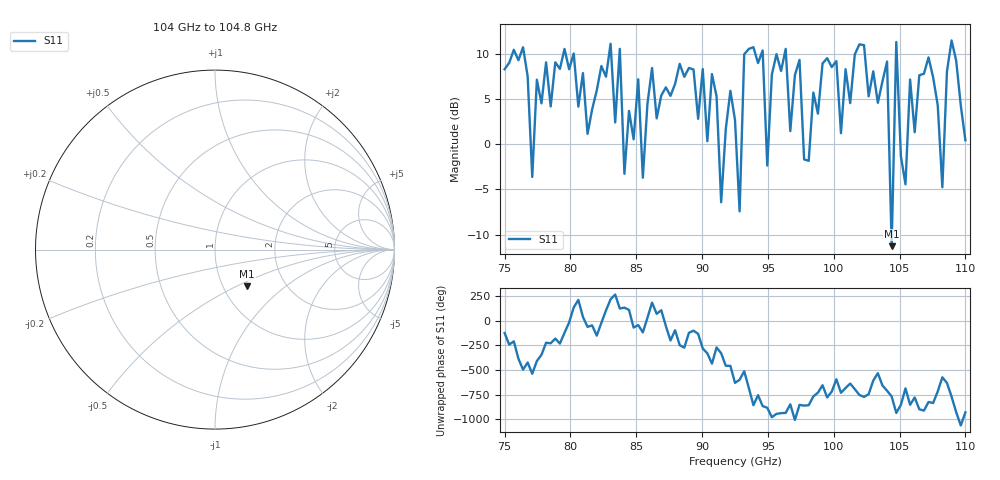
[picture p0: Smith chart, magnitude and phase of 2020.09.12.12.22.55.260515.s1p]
!Created with skrf (http://scikit-rf.org).
# GHz S RI R 50.0
!freq ReS11 ImS11
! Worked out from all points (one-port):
!   101 points, 75 GHz to 110 GHz, reference 50 ohm
!   lowest |S11| = -11.3 dB at 104.4 GHz (marker M1), VSWR 1.75, Z = 64.7 - j28.7 ohm
!   |S11| at or under -10 dB: 104.3779 GHz to 104.42 GHz (42.12 MHz wide, 0.0403 % of centre)
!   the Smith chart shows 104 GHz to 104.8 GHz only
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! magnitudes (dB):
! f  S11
! 75 GHz  8.3
! 76.4 GHz  10.8
! 77.1 GHz  -3.6
! 79.55 GHz  10.6
! 81.3 GHz  1.2
! 83.75 GHz  10.6
! 84.1 GHz  -3.3
! 88.3 GHz  8.9
! 90.75 GHz  7.8
! 91.45 GHz  -6.4
! 92.5 GHz  2.7
! 92.85 GHz  -7.4
! 93.2 GHz  10.0
! 94.6 GHz  10.4
! 94.95 GHz  -2.3
! 95.65 GHz  10.0
! 97.05 GHz  7.7
! 97.75 GHz  -1.7
! 101.2 GHz  4.6
! 104 GHz  9.2
! 104.4 GHz  -11.3
! 104.8 GHz  11.4
! 105.5 GHz  -4.4
! 105.8 GHz  7.2
! 107.2 GHz  9.7
! 108.2 GHz  -4.8
! 109 GHz  11.5
! 110 GHz  0.5
